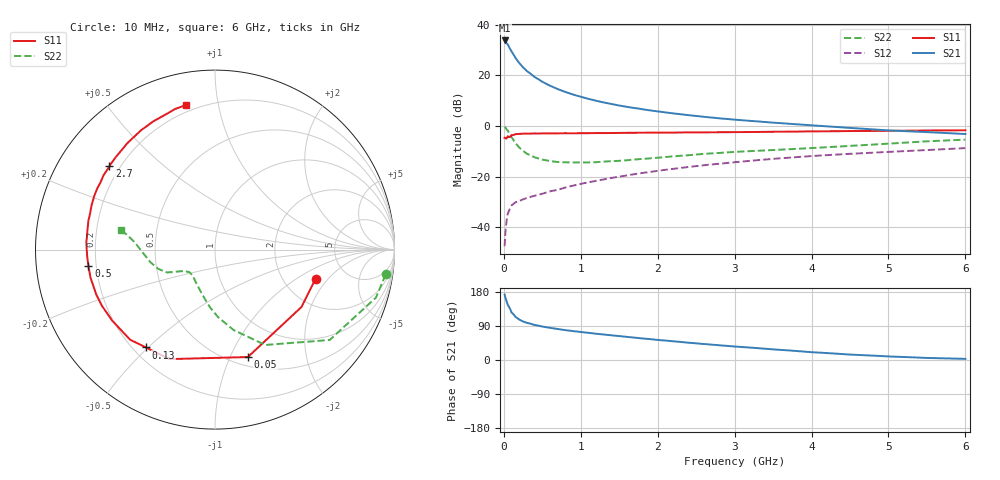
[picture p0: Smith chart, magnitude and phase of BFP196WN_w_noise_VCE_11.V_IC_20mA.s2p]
! Infineon Technologies  Discrete & RF Semiconductors
! BFP196WN
! VCE =  11. V,  IC =  20 mA
! Common Emitter S-Parameters:  Jan 2017
# GHz  S  MA  R  50
!  f  S11  S21  S12  S22
! GHz  MAG  ANG  MAG  ANG  MAG  ANG  MAG  ANG
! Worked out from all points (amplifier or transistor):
!   77 points, 10 MHz to 6 GHz, reference 50 ohm
!   highest |S21| = 33.8 dB at 10 MHz (marker M1)
!   |S21| within 3 dB of that: start of sweep to 75.62 MHz
!   unconditionally stable (mu >= 1): 929.1 MHz to 2.7 GHz
!   at 130 MHz: K = 0.30, MSG = 29.4 dB, |S12| = -30.7 dB
!   at 2.2 GHz: K = 1.04, MAG = 9.8 dB, |S12| = -17.0 dB
!   at 6 GHz: K = 0.87, MSG = 2.8 dB, |S12| = -8.8 dB
!   lowest NFmin = 0.96 dB at 450 MHz
!   S11 on the Smith chart (normalised r, x): 10 MHz: 3.01, -1.48; 50 MHz: 0.59, -1.17; 130 MHz: 0.25, -0.49; 500 MHz: 0.17, -0.06; 2.7 GHz: 0.16, +0.34; 6 GHz: 0.16, +0.81
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0.01  0.5835 -16.1  49.05 172.9  0.0042 81.0  0.961 -8.3
0.02  0.5781 -33.6  46.54 164.8  0.0078 75.5  0.9358 -16.6
0.05  0.626 -73.0  41.1 145.8  0.0182 61.3  0.8138 -38.2
0.1  0.6603 -112.5  29.71 125.5  0.0268 48.4  0.6007 -62.2
0.13  0.6673 -125.2  25.18 119.5  0.0292 44.1  0.5118 -70.1
0.15  0.6897 -133.3  22.36 114.1  0.0309 41.6  0.4597 -77.0
0.2  0.6962 -145.4  17.56 106.8  0.0328 40.4  0.3759 -87.5
0.25  0.7035 -153.5  14.4 101.7  0.0354 40.7  0.3224 -95.0
0.3  0.7072 -159.3  12.19 98.0  0.0378 40.6  0.2823 -101.3
0.4  0.7111 -167.4  9.296 92.4  0.0417 44.5  0.2399 -110.7
0.5  0.7112 -172.8  7.475 88.3  0.0457 47.4  0.2164 -118.3
0.6  0.713 -176.8  6.259 84.9  0.0509 49.8  0.2026 -124.1
0.7  0.7149 179.7  5.369 81.8  0.0546 53.4  0.1937 -128.1
0.9  0.7166 173.8  4.179 76.3  0.066 56.4  0.1903 -134.1
1.1  0.7205 169.2  3.433 71.7  0.077 59.0  0.1903 -138.4
1.5  0.7285 161.5  2.537 63.1  0.0993 61.1  0.2045 -144.3
2.1  0.7391 151.2  1.856 51.3  0.1358 61.3  0.2429 -149.7
2.7  0.7493 141.7  1.467 40.6  0.1731 59.3  0.2867 -153.8
3.1  0.757 135.6  1.297 34.2  0.198 57.0  0.3125 -157.6
4.1  0.7835 120.6  1.006 19.5  0.2593 50.2  0.3727 -170.7
5.1  0.8035 109.2  0.805 8.6  0.3123 43.0  0.4565 174.1
6  0.8222 101.2  0.693 3.0  0.3649 36.9  0.5361 168.1
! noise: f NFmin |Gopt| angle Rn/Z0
0.45  0.96  0.4  169  0.05
0.9  1.1  0.5  179  0.05
1.9  2.1  0.69  210  0.12
2.4  2.86  0.7  216  0.23
